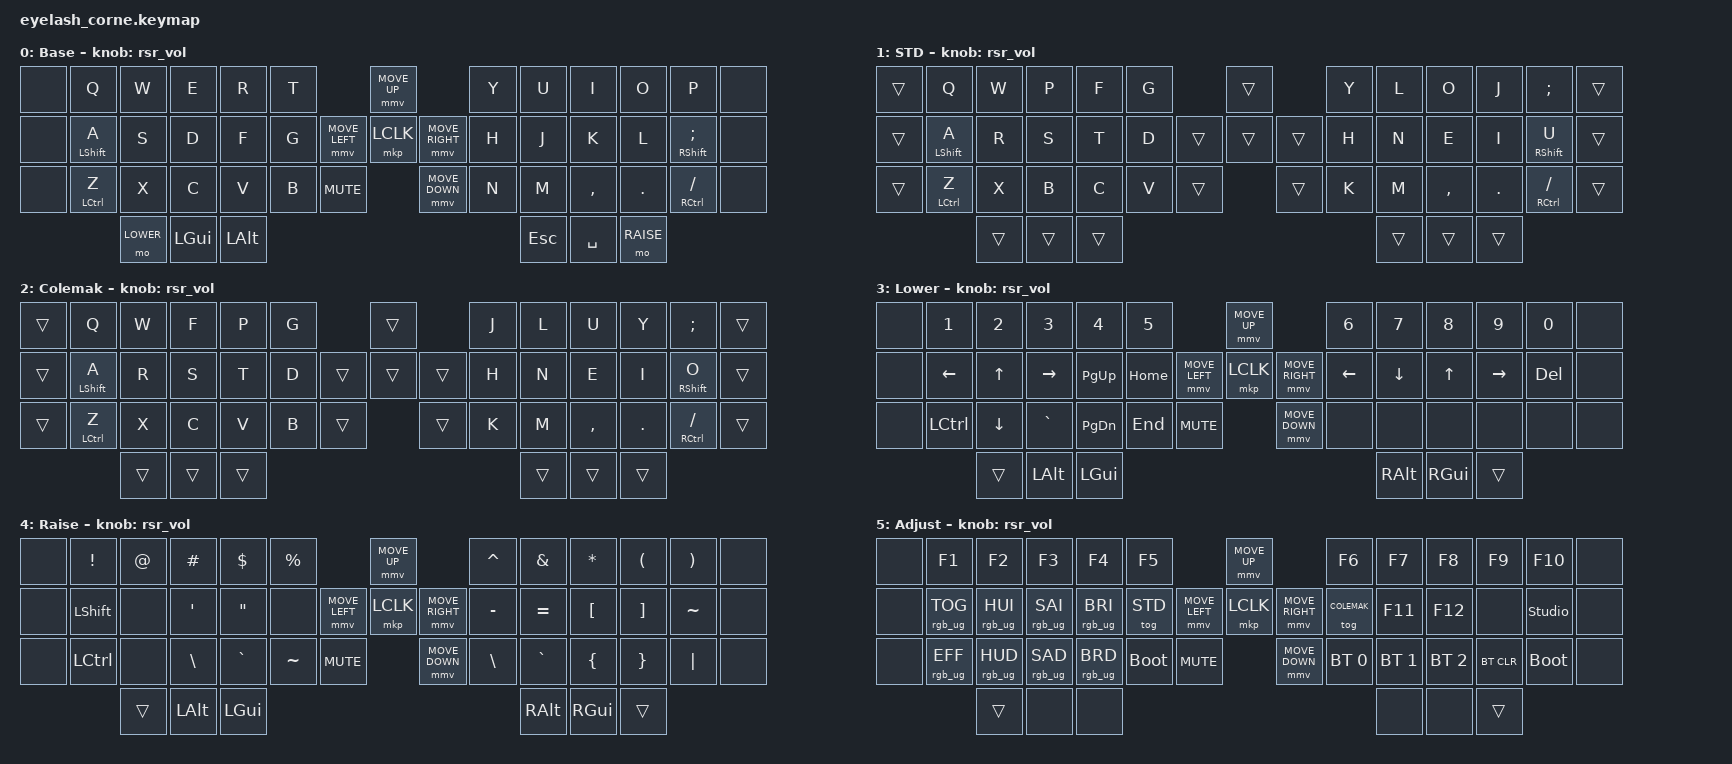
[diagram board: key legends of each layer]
/*
 * Eyelash Corne, 36 Tasten (3x5+3), abgeleitet aus dem 42-Tasten-Vial-Layout
 *
 * Die weggefallenen Aussenspalten wurden so verteilt:
 *   Shift / Ctrl  -> Hold auf A bzw. Z (Tap = Buchstabe, Halten = Modifier)
 *   Shift rechts  -> Hold auf ;
 *   Ctrl rechts   -> Hold auf /
 *   Tab           -> Combo Q + W oder M + ,
 *   Backspace     -> Combo U + I
 *   Delete        -> Combo I + O (zusätzlich auf Lower rechts aussen)
 *   Enter         -> Combo J + K
 *   ' / "         -> Combo . + / oder Raise auf D, " zusätzlich Raise auf F
 *   Shift auf Raise -> A
 *   Tilde         -> Raise, links unten und auf ;
 *   Bootloader    -> Adjust, unten innen (je Hälfte eine Taste)
 *   Neu: Bluetooth-Tasten und &studio_unlock auf Adjust
 *   Layouts     -> Adjust + G schaltet STD ein/aus, Adjust + H schaltet Colemak ein/aus.
 *                  Sind beide an, gewinnt Colemak. Nur die Buchstaben wechseln,
 *                  Mods/Combos bleiben auf ihren Positionen.
 *
 * Die Aussenspalten sind auf &none gesetzt. Joystick (5-Wege), Encoder
 * und Soft-Off-Combo sind aus der ursprünglichen Keymap übernommen.
 *
 * Positionsnummern (physisches Layout des Shields, 48 Positionen):
 *    0 |  1  2  3  4  5 |       6        |  7  8  9 10 11 | 12
 *   13 | 14 15 16 17 18 |   19 20 21     | 22 23 24 25 26 | 27
 *   28 | 29 30 31 32 33 | 34    35       | 36 37 38 39 40 | 41
 *                42 43 44                  45 46 47
 *   (6/19/20/21/35 = Joystick, 34 = Encoder-Taste)
 */

#define ZMK_POINTING_DEFAULT_MOVE_VAL 1200  // 600
#define ZMK_POINTING_DEFAULT_SCRL_VAL 25   // 10

#include <input/processors.dtsi>
#include <zephyr/dt-bindings/input/input-event-codes.h>
#include <behaviors.dtsi>
#include <behaviors/runtime-sensor-rotate.dtsi>
#include <dt-bindings/zmk/bt.h>
#include <dt-bindings/zmk/keys.h>
#include <dt-bindings/zmk/pointing.h>
#include <dt-bindings/zmk/rgb.h>

#define BASE        0
#define STD         1
#define COLEMAK     2
#define LOWER       3
#define RAISE       4
#define ADJUST      5

&soft_off { hold-time-ms = <2000>; };

/ {
    behaviors {
        hm: homerow_mods {
            compatible = "zmk,behavior-hold-tap";
            #binding-cells = <2>;
            flavor = "balanced";
            tapping-term-ms = <200>;
            quick-tap-ms = <175>;
            require-prior-idle-ms = <150>;
            bindings = <&kp>, <&kp>;
        };

        // Shift auf der Home Row: ohne require-prior-idle und quick-tap, sonst wird
        // A direkt nach einer anderen Taste (z.B. Leertaste) sofort zum Tap und
        // das gehaltene A wiederholt sich (aaaaaa). Halten ergibt so immer Shift.
        hs: homerow_shift {
            compatible = "zmk,behavior-hold-tap";
            #binding-cells = <2>;
            flavor = "balanced";
            tapping-term-ms = <200>;
            quick-tap-ms = <0>;
            bindings = <&kp>, <&kp>;
        };

        rsr_vol: rsr_vol {
            compatible = "zmk,behavior-runtime-sensor-rotate";
            #sensor-binding-cells = <0>;
            tap-ms = <5>;
            cw-binding = <&kp C_VOL_UP>;
            ccw-binding = <&kp C_VOL_DN>;
        };
    };

    combos {
        compatible = "zmk,combos";
        combo_tab  { timeout-ms = <50>; require-prior-idle-ms = <150>; key-positions = <1 2>;   bindings = <&kp TAB>;  };
        combo_tab2 { timeout-ms = <50>; require-prior-idle-ms = <150>; key-positions = <37 38>; bindings = <&kp TAB>;  };
        combo_del  { timeout-ms = <50>; require-prior-idle-ms = <150>; key-positions = <9 10>;  bindings = <&kp DEL>;  };
        combo_bspc { timeout-ms = <50>; require-prior-idle-ms = <150>; key-positions = <8 9>;   bindings = <&kp BSPC>; };
        combo_ret  { timeout-ms = <50>; require-prior-idle-ms = <150>; key-positions = <23 24>; bindings = <&kp RET>;  };
        combo_sqt  { timeout-ms = <50>; require-prior-idle-ms = <150>; key-positions = <39 40>; bindings = <&kp SQT>;  };

        softoff {
            bindings = <&soft_off>;
            key-positions = <1 15 29>;
        };
    };

    conditional_layers {
        compatible = "zmk,conditional-layers";
        tri_layer {
            if-layers = <LOWER RAISE>;
            then-layer = <ADJUST>;
        };
    };

    keymap {
        compatible = "zmk,keymap";

        base_layer {
            display-name = "Base";
            bindings = <
&none  &kp Q        &kp W  &kp E  &kp R  &kp T                              &mmv MOVE_UP                     &kp Y  &kp U  &kp I      &kp O    &kp P     &none
&none  &hs LSHFT A  &kp S  &kp D  &kp F  &kp G                &mmv MOVE_LEFT  &mkp LCLK     &mmv MOVE_RIGHT  &kp H  &kp J  &kp K      &kp L    &hs RSHFT SEMI  &none
&none  &hm LCTRL Z  &kp X  &kp C  &kp V  &kp B  &kp C_MUTE                  &mmv MOVE_DOWN                   &kp N  &kp M  &kp COMMA  &kp DOT  &hm RCTRL FSLH  &none
                    &mo LOWER  &kp LGUI  &kp LALT                                                            &kp ESC  &kp SPACE  &mo RAISE
            >;

            sensor-bindings = <&rsr_vol>;
        };

        std_layer {
            display-name = "STD";
            bindings = <
&trans  &kp Q        &kp W  &kp P  &kp F  &kp G                              &trans                           &kp Y  &kp L  &kp O      &kp J    &kp SEMI        &trans
&trans  &hs LSHFT A  &kp R  &kp S  &kp T  &kp D                &trans          &trans        &trans           &kp H  &kp N  &kp E      &kp I    &hs RSHFT U     &trans
&trans  &hm LCTRL Z  &kp X  &kp B  &kp C  &kp V  &trans                      &trans                           &kp K  &kp M  &kp COMMA  &kp DOT  &hm RCTRL FSLH  &trans
                    &trans  &trans  &trans                                                                  &trans  &trans  &trans
            >;

            sensor-bindings = <&rsr_vol>;
        };

        colemak_layer {
            display-name = "Colemak";
            bindings = <
&trans  &kp Q        &kp W  &kp F  &kp P  &kp G                              &trans                           &kp J  &kp L  &kp U      &kp Y    &kp SEMI        &trans
&trans  &hs LSHFT A  &kp R  &kp S  &kp T  &kp D                &trans          &trans        &trans           &kp H  &kp N  &kp E      &kp I    &hs RSHFT O     &trans
&trans  &hm LCTRL Z  &kp X  &kp C  &kp V  &kp B  &trans                      &trans                           &kp K  &kp M  &kp COMMA  &kp DOT  &hm RCTRL FSLH  &trans
                    &trans  &trans  &trans                                                                  &trans  &trans  &trans
            >;

            sensor-bindings = <&rsr_vol>;
        };

        lower_layer {
            display-name = "Lower";
            bindings = <
&none  &kp N1     &kp N2    &kp N3     &kp N4     &kp N5                         &mmv MOVE_UP                     &kp N6    &kp N7    &kp N8  &kp N9     &kp N0   &none
&none  &kp LEFT   &kp UP    &kp RIGHT  &kp PG_UP  &kp HOME         &mmv MOVE_LEFT  &mkp LCLK     &mmv MOVE_RIGHT  &kp LEFT  &kp DOWN  &kp UP  &kp RIGHT  &kp DEL  &none
&none  &kp LCTRL  &kp DOWN  &kp GRAVE  &kp PG_DN  &kp END   &kp C_MUTE                 &mmv MOVE_DOWN                   &none     &none     &none   &none      &none    &none
                            &trans  &kp LALT  &kp LGUI                                                                &kp RALT  &kp RGUI  &trans
            >;

            sensor-bindings = <&rsr_vol>;
        };

        raise_layer {
            display-name = "Raise";
            bindings = <
&none  &kp EXCL   &kp AT    &kp HASH   &kp DOLLAR  &kp PRCNT                      &mmv MOVE_UP                     &kp CARET  &kp AMPS   &kp STAR  &kp LPAR  &kp RPAR  &none
&none  &kp LSHFT  &none     &kp SQT    &kp DQT     &none           &mmv MOVE_LEFT  &mkp LCLK     &mmv MOVE_RIGHT  &kp MINUS  &kp EQUAL  &kp LBKT  &kp RBKT  &kp TILDE &none
&none  &kp LCTRL  &none     &kp BSLH   &kp GRAVE   &kp TILDE  &kp C_MUTE              &mmv MOVE_DOWN                   &kp BSLH   &kp GRAVE  &kp LBRC  &kp RBRC  &kp PIPE  &none
                            &trans  &kp LALT  &kp LGUI                                                                 &kp RALT  &kp RGUI  &trans
            >;

            sensor-bindings = <&rsr_vol>;
        };

        adjust_layer {
            display-name = "Adjust";
            bindings = <
&none  &kp F1           &kp F2           &kp F3           &kp F4           &kp F5                                 &mmv MOVE_UP                     &kp F6        &kp F7        &kp F8        &kp F9      &kp F10         &none
&none  &rgb_ug RGB_TOG  &rgb_ug RGB_HUI  &rgb_ug RGB_SAI  &rgb_ug RGB_BRI  &tog STD               &mmv MOVE_LEFT  &mkp LCLK     &mmv MOVE_RIGHT  &tog COLEMAK  &kp F11       &kp F12       &none       &studio_unlock  &none
&none  &rgb_ug RGB_EFF  &rgb_ug RGB_HUD  &rgb_ug RGB_SAD  &rgb_ug RGB_BRD  &bootloader  &kp C_MUTE              &mmv MOVE_DOWN                   &bt BT_SEL 0  &bt BT_SEL 1  &bt BT_SEL 2  &bt BT_CLR  &bootloader     &none
                                   &trans  &none  &none                                                                                               &none  &none  &trans
            >;

            sensor-bindings = <&rsr_vol>;
        };
    };
};
